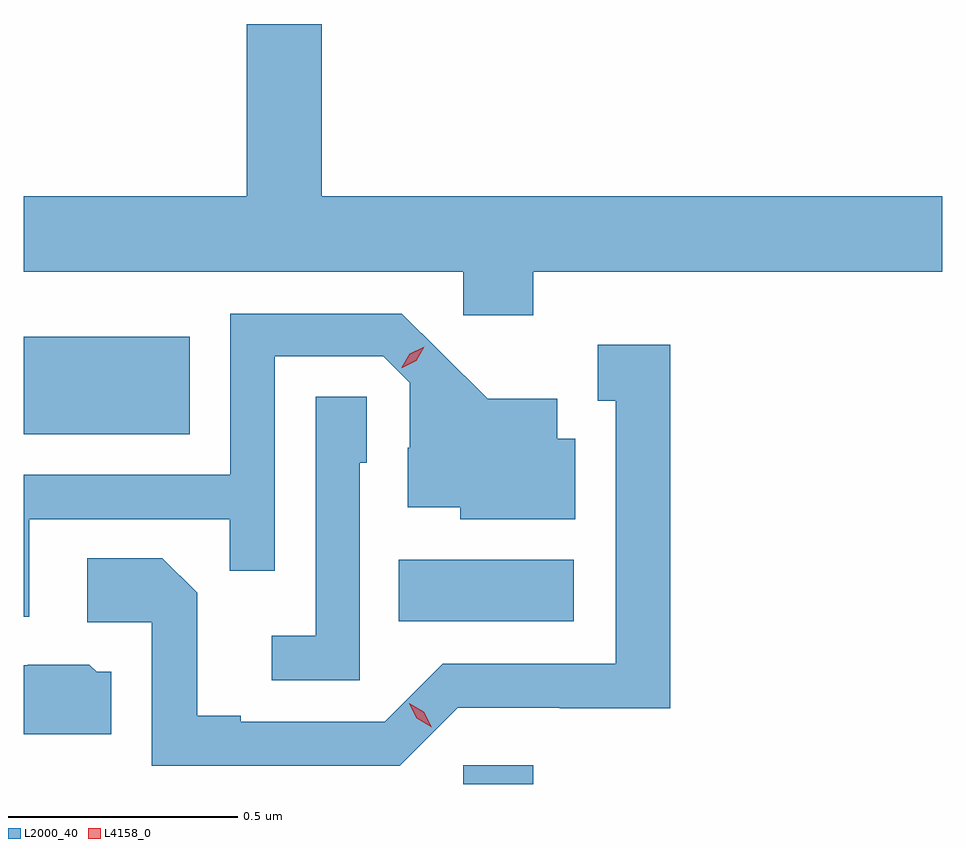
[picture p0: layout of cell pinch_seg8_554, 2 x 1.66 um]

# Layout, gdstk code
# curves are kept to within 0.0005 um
import gdstk
lib = gdstk.Library(unit=1e-6, precision=1e-09)
def R(c, l, rs):  # rectangles x0, y0, x1, y1
    for r in rs: c.add(gdstk.rectangle(r[:2], r[2:], *l))
def P(c, l, *ps):  # polygons
    for p in ps: c.add(gdstk.Polygon(p, *l))
L2000_40 = (2000, 40)
L4158_0 = (4158, 0)

pinch_seg8_554 = lib.new_cell('pinch_seg8_554')
R(pinch_seg8_554, L2000_40, [(117.528,1115.384,117.68,1115.425), (117.388,1115.738,117.769,1115.872), (116.571,1116.146,116.932,1116.358)])
P(pinch_seg8_554, L2000_40, [(117.68,1116.5),(118.571,1116.5),(118.571,1116.664),(117.22,1116.664),(117.22,1117.039),(117.056,1117.039),(117.056,1116.664),(116.571,1116.664),(116.571,1116.5),(117.528,1116.5),(117.528,1116.405),(117.68,1116.405)],
  [(116.583,1115.961),(117.019,1115.961),(117.019,1115.848),(117.117,1115.848),(117.117,1116.315),(117.354,1116.315),(117.411,1116.258),(117.411,1116.116),(117.407,1116.116),(117.407,1115.987),(117.522,1115.987),(117.522,1115.96),(117.772,1115.96),(117.772,1116.136),(117.733,1116.136),(117.733,1116.223),(117.581,1116.223),(117.394,1116.408),(117.021,1116.408),(117.021,1116.057),(116.571,1116.057),(116.571,1115.748),(116.583,1115.748)],
  [(117.516,1115.55),(117.738,1115.55),(117.738,1115.549),(117.979,1115.549),(117.979,1116.34),(117.821,1116.34),(117.821,1116.219),(117.86,1116.219),(117.86,1115.646),(117.483,1115.646),(117.357,1115.52),(117.043,1115.52),(117.043,1115.533),(116.949,1115.533),(116.949,1115.8),(116.873,1115.876),(116.709,1115.876),(116.709,1115.736),(116.85,1115.736),(116.85,1115.424),(117.39,1115.424)],
  [(117.303,1116.084),(117.318,1116.084),(117.318,1116.227),(117.207,1116.227),(117.207,1115.707),(117.111,1115.707),(117.111,1115.61),(117.303,1115.61)],
  [(116.761,1115.628),(116.73,1115.628),(116.714,1115.644),(116.58,1115.644),(116.58,1115.643),(116.571,1115.643),(116.571,1115.492),(116.761,1115.492)])
P(pinch_seg8_554, L4158_0, [(117.459,1115.508),(117.427,1115.527),(117.41,1115.559),(117.41,1115.56),(117.41,1115.56),(117.442,1115.541),(117.459,1115.508),(117.459,1115.508)],
  [(117.394,1116.29),(117.394,1116.291),(117.412,1116.321),(117.443,1116.336),(117.443,1116.336),(117.443,1116.336),(117.426,1116.306),(117.395,1116.29)])

lib.write_gds('pinch_seg8_554.gds')
